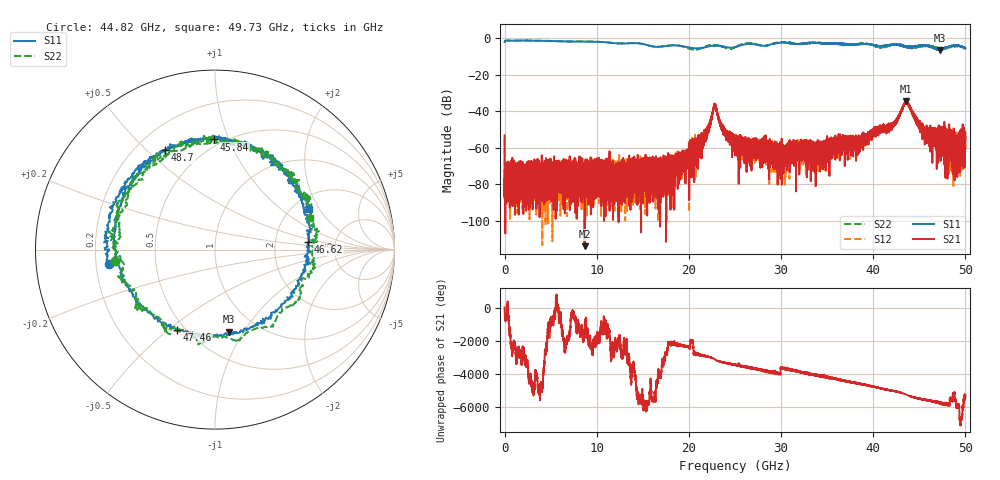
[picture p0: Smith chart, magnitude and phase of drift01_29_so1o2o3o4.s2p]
!Created with skrf (http://scikit-rf.org).
# Hz S RI R 50.0
!freq ReS11 ImS11 ReS21 ImS21 ReS12 ImS12 ReS22 ImS22
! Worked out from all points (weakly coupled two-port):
!   10001 points, 300 kHz to 50 GHz, reference 50 ohm
!   highest |S21| = -34.55 dB at 43.57 GHz (marker M1); lowest = -113.8 dB at 8.68 GHz (marker M2)
!   lowest |S11| = -6.7 dB at 47.21 GHz (marker M3), VSWR 2.73, Z = 37.1 - j43.3 ohm
!   |S11| at or under -10 dB: nowhere
!   |S22| runs from -6.4 to -1.4 dB; largest |S21 - S12| = 0.0049
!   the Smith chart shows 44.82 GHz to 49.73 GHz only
!   S11 on the Smith chart (normalised r, x): 44.82 GHz: 0.25, -0.06; 45.84 GHz: 0.45, +0.89; 46.62 GHz: 3.13, +0.35; 47.46 GHz: 0.46, -0.54; 48.7 GHz: 0.32, +0.57; 49.73 GHz: 2.41, +1.63
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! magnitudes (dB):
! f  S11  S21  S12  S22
! 300 kHz  -2.2  -53.2  -54.7  -2.1
! 255.3 MHz  -1.4  -73.8  -71.2  -1.4
! 8.335 GHz  -1.9  -83.0  -79.1  -1.8
! 8.68 GHz  -2.0  -113.8  -70.5  -1.8
! 16.67 GHz  -4.8  -73.4  -71.1  -4.8
! 20.87 GHz  -5.7  -55.9  -59.9  -6.2
! 22.02 GHz  -4.8  -49.9  -51.8  -4.4
! 22.8 GHz  -4.3  -35.8  -36.0  -4.0
! 23.73 GHz  -4.6  -48.8  -49.8  -5.0
! 25 GHz  -5.0  -56.4  -58.5  -5.1
! 29.38 GHz  -3.0  -57.4  -60.3  -2.8
! 33.34 GHz  -2.6  -61.8  -63.7  -2.7
! 41.67 GHz  -4.0  -49.0  -50.4  -4.3
! 43.57 GHz  -5.1  -34.6  -35.0  -4.8
! 44.82 GHz  -4.5  -47.1  -46.0  -5.0
! 45.84 GHz  -4.2  -53.8  -52.7  -4.4
! 46.62 GHz  -5.7  -53.5  -51.2  -5.1
! 47.21 GHz  -6.7  -55.0  -54.3  -5.8
! 47.46 GHz  -6.1  -55.0  -52.0  -5.9
! 48.7 GHz  -4.1  -55.1  -80.8  -4.6
! 49.73 GHz  -4.9  -58.9  -62.2  -5.1
! 50 GHz  -5.7  -56.5  -58.1  -5.3
